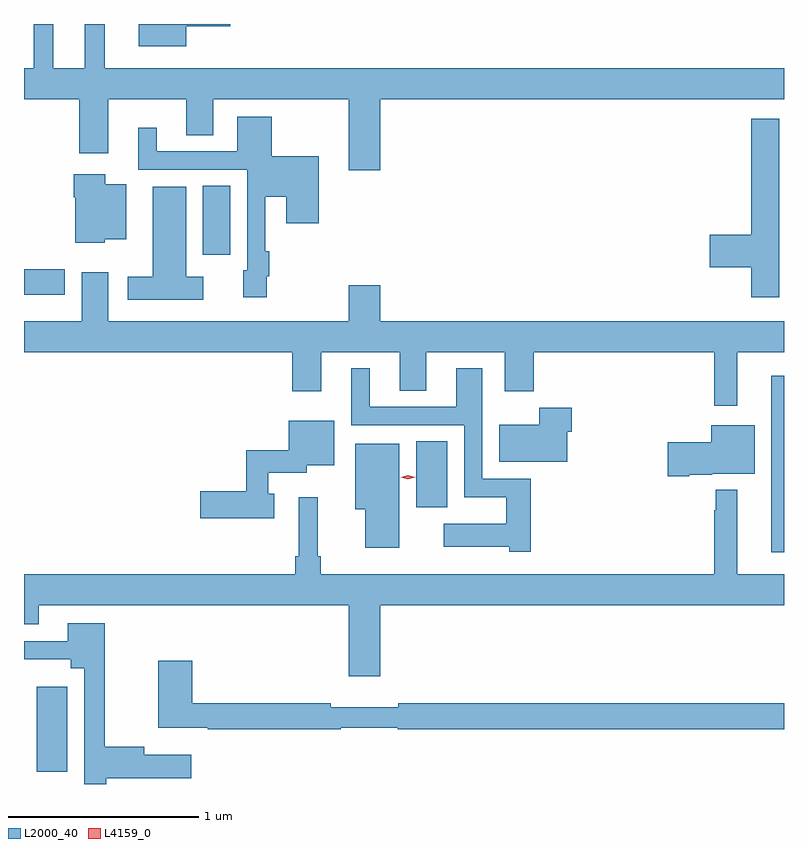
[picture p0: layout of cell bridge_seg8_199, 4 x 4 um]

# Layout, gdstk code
import gdstk
lib = gdstk.Library(unit=1e-6, precision=1e-09)
def R(c, l, rs):  # rectangles x0, y0, x1, y1
    for r in rs: c.add(gdstk.rectangle(r[:2], r[2:], *l))
def P(c, l, *ps):  # polygons
    for p in ps: c.add(gdstk.Polygon(p, *l))
L2000_40 = (2000, 40)
L4159_0 = (4159, 0)

bridge_seg8_199 = lib.new_cell('bridge_seg8_199')
R(bridge_seg8_199, L2000_40, [(247.28,1118.289,247.441,1118.737), (251.147,1119.443,251.214,1120.372), (249.278,1119.68,249.442,1120.028), (247.214,1120.799,247.429,1120.934), (248.156,1121.01,248.299,1121.372)])
P(bridge_seg8_199, L2000_40, [(249.088,1121.828),(251.214,1121.828),(251.214,1121.992),(247.639,1121.992),(247.639,1122.224),(247.535,1122.224),(247.535,1121.992),(247.369,1121.992),(247.369,1122.224),(247.265,1122.224),(247.265,1121.992),(247.214,1121.992),(247.214,1121.828),(247.505,1121.828),(247.505,1121.544),(247.657,1121.544),(247.657,1121.828),(248.069,1121.828),(248.069,1121.638),(248.209,1121.638),(248.209,1121.828),(248.924,1121.828),(248.924,1121.454),(249.088,1121.454)],
  [(248.068,1122.212),(248.299,1122.212),(248.299,1122.224),(247.817,1122.224),(247.817,1122.107),(248.068,1122.107)],
  [(248.492,1120.897),(248.504,1120.897),(248.504,1121.029),(248.484,1121.029),(248.484,1121.315),(248.594,1121.315),(248.594,1121.175),(248.765,1121.175),(248.765,1121.527),(248.518,1121.527),(248.518,1121.737),(248.336,1121.737),(248.336,1121.553),(247.912,1121.553),(247.912,1121.677),(247.814,1121.677),(247.814,1121.457),(248.388,1121.457),(248.388,1120.929),(248.369,1120.929),(248.369,1120.785),(248.492,1120.785)],
  [(251.188,1121.725),(251.042,1121.725),(251.042,1121.114),(250.824,1121.114),(250.824,1120.943),(251.042,1120.943),(251.042,1120.785),(251.188,1120.785)],
  [(247.638,1121.09),(247.753,1121.09),(247.753,1121.38),(247.642,1121.38),(247.642,1121.434),(247.477,1121.434),(247.477,1121.312),(247.484,1121.312),(247.484,1121.072),(247.638,1121.072)],
  [(248.158,1120.894),(248.068,1120.894),(248.068,1121.368),(247.892,1121.368),(247.892,1120.894),(247.761,1120.894),(247.761,1120.772),(248.158,1120.772)],
  [(250.969,1120.496),(251.214,1120.496),(251.214,1120.66),(249.088,1120.66),(249.088,1120.849),(248.924,1120.849),(248.924,1120.66),(247.657,1120.66),(247.657,1120.918),(247.517,1120.918),(247.517,1120.66),(247.214,1120.66),(247.214,1120.496),(248.627,1120.496),(248.627,1120.29),(248.779,1120.29),(248.779,1120.496),(249.191,1120.496),(249.191,1120.294),(249.331,1120.294),(249.331,1120.496),(249.743,1120.496),(249.743,1120.29),(249.896,1120.29),(249.896,1120.496),(250.848,1120.496),(250.848,1120.215),(250.969,1120.215)],
  [(249.881,1119.831),(249.627,1119.831),(249.627,1120.411),(249.488,1120.411),(249.488,1120.209),(249.034,1120.209),(249.034,1120.411),(248.936,1120.411),(248.936,1120.113),(249.531,1120.113),(249.531,1119.734),(249.753,1119.734),(249.753,1119.595),(249.423,1119.595),(249.423,1119.473),(249.768,1119.473),(249.768,1119.446),(249.881,1119.446)],
  [(250.072,1120.077),(250.097,1120.077),(250.097,1120.203),(249.926,1120.203),(249.926,1120.114),(249.716,1120.114),(249.716,1119.92),(250.072,1119.92)],
  [(248.53,1119.751),(248.5,1119.751),(248.5,1119.863),(248.703,1119.863),(248.703,1119.902),(248.848,1119.902),(248.848,1120.135),(248.607,1120.135),(248.607,1119.98),(248.383,1119.98),(248.383,1119.764),(248.142,1119.764),(248.142,1119.622),(248.53,1119.622)],
  [(250.714,1119.851),(250.836,1119.851),(250.836,1119.857),(251.059,1119.857),(251.059,1120.111),(250.832,1120.111),(250.832,1120.023),(250.602,1120.023),(250.602,1119.845),(250.714,1119.845)],
  [(249.19,1120.015),(248.957,1120.015),(248.957,1119.671),(249.011,1119.671),(249.011,1119.467),(249.19,1119.467)],
  [(249.088,1119.164),(251.214,1119.164),(251.214,1119.328),(250.969,1119.328),(250.969,1119.772),(250.855,1119.772),(250.855,1119.665),(250.848,1119.665),(250.848,1119.328),(248.777,1119.328),(248.777,1119.424),(248.76,1119.424),(248.76,1119.733),(248.66,1119.733),(248.66,1119.424),(248.641,1119.424),(248.641,1119.328),(247.214,1119.328),(247.214,1119.065),(247.291,1119.065),(247.291,1119.164),(248.924,1119.164),(248.924,1118.79),(249.088,1118.79)],
  [(247.646,1118.255),(248.095,1118.255),(248.095,1118.377),(247.846,1118.377),(247.846,1118.419),(247.639,1118.419),(247.639,1119.07),(247.445,1119.07),(247.445,1118.976),(247.214,1118.976),(247.214,1118.88),(247.46,1118.88),(247.46,1118.834),(247.53,1118.834),(247.53,1118.224),(247.646,1118.224)],
  [(248.882,1118.52),(249.182,1118.52),(249.182,1118.512),(251.214,1118.512),(251.214,1118.648),(249.184,1118.648),(249.184,1118.629),(248.828,1118.629),(248.828,1118.648),(248.099,1118.648),(248.099,1118.872),(247.921,1118.872),(247.921,1118.519),(248.182,1118.519),(248.182,1118.512),(248.882,1118.512)])
P(bridge_seg8_199, L4159_0, [(249.235,1119.829),(249.197,1119.838),(249.196,1119.838),(249.197,1119.838),(249.235,1119.849),(249.274,1119.839),(249.274,1119.839),(249.274,1119.839)])

lib.write_gds('bridge_seg8_199.gds')
